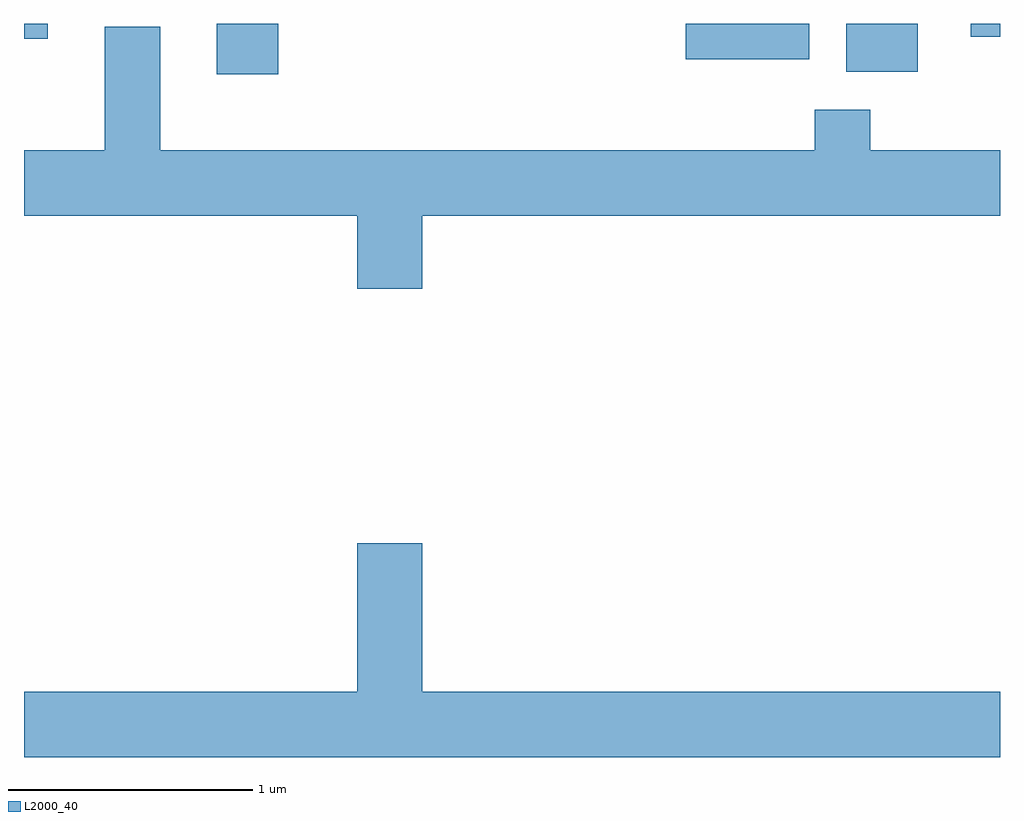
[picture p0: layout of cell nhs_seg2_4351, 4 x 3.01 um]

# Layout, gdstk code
import gdstk
lib = gdstk.Library(unit=1e-6, precision=1e-09)
def R(c, l, rs):  # rectangles x0, y0, x1, y1
    for r in rs: c.add(gdstk.rectangle(r[:2], r[2:], *l))
def P(c, l, *ps):  # polygons
    for p in ps: c.add(gdstk.Polygon(p, *l))
L2000_40 = (2000, 40)

nhs_seg2_4351 = lib.new_cell('nhs_seg2_4351')
R(nhs_seg2_4351, L2000_40, [(314.401,1015.596,314.654,1015.802), (316.981,1015.606,317.274,1015.802), (316.323,1015.656,316.829,1015.802), (313.611,1015.741,313.709,1015.802), (317.491,1015.748,317.611,1015.802)])
P(nhs_seg2_4351, L2000_40, [(315.244,1015.016),(317.611,1015.016),(317.611,1015.284),(317.079,1015.284),(317.079,1015.449),(316.851,1015.449),(316.851,1015.284),(314.169,1015.284),(314.169,1015.789),(313.941,1015.789),(313.941,1015.284),(313.611,1015.284),(313.611,1015.016),(314.976,1015.016),(314.976,1014.716),(315.244,1014.716)],
  [(317.611,1013.064),(315.244,1013.064),(315.244,1013.674),(314.976,1013.674),(314.976,1013.064),(313.611,1013.064),(313.611,1012.796),(317.611,1012.796)])

lib.write_gds('nhs_seg2_4351.gds')
